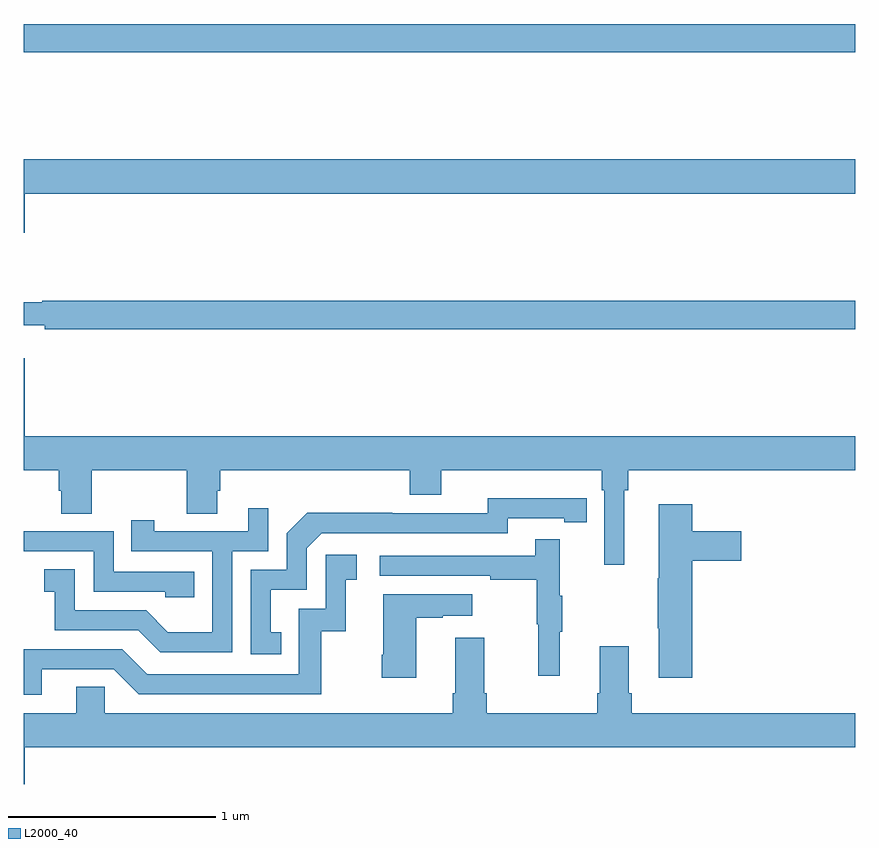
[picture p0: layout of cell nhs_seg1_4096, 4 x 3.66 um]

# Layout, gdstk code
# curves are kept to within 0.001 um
import gdstk
lib = gdstk.Library(unit=1e-6, precision=1e-09)
def R(c, l, rs):  # rectangles x0, y0, x1, y1
    for r in rs: c.add(gdstk.rectangle(r[:2], r[2:], *l))
def P(c, l, *ps):  # polygons
    for p in ps: c.add(gdstk.Polygon(p, *l))
L2000_40 = (2000, 40)

nhs_seg1_4096 = lib.new_cell('nhs_seg1_4096')
R(nhs_seg1_4096, L2000_40, [(333,577.72,337,577.856)])
P(nhs_seg1_4096, L2000_40, [(333.004,577.04),(337,577.04),(337,577.204),(333,577.204),(333,576.852),(333.004,576.852)],
  [(337,576.524),(333.088,576.524),(333.088,576.517),(333,576.517),(333,576.407),(333.1,576.407),(333.1,576.388),(337,576.388)],
  [(335.89,575.612),(335.909,575.612),(335.909,575.708),(337,575.708),(337,575.872),(333.004,575.872),(333.004,576.247),(333,576.247),(333,575.708),(333.167,575.708),(333.167,575.61),(333.179,575.61),(333.179,575.5),(333.327,575.5),(333.327,575.708),(333.784,575.708),(333.784,575.5),(333.931,575.5),(333.931,575.61),(333.944,575.61),(333.944,575.708),(334.856,575.708),(334.856,575.591),(335.008,575.591),(335.008,575.708),(335.78,575.708),(335.78,575.612),(335.793,575.612),(335.793,575.253),(335.89,575.253)],
  [(334.238,574.929),(334.189,574.929),(334.189,575.133),(334.362,575.133),(334.362,575.334),(334.434,575.406),(335.328,575.406),(335.328,575.478),(335.6,575.478),(335.6,575.458),(335.708,575.458),(335.708,575.574),(335.232,575.575),(335.232,575.502),(334.772,575.502),(334.772,575.504),(334.364,575.504),(334.266,575.406),(334.266,575.229),(334.092,575.229),(334.092,574.824),(334.238,574.824)],
  [(336.215,575.273),(336.451,575.273),(336.451,575.415),(336.215,575.415),(336.215,575.545),(336.056,575.545),(336.056,575.189),(336.049,575.189),(336.049,574.948),(336.056,574.948),(336.056,574.71),(336.215,574.71)],
  [(334.002,575.319),(334.176,575.319),(334.176,575.527),(334.079,575.527),(334.079,575.415),(333.628,575.415),(333.628,575.467),(333.517,575.467),(333.517,575.319),(333.906,575.319),(333.906,574.93),(333.692,574.93),(333.588,575.034),(333.246,575.034),(333.246,575.233),(333.099,575.233),(333.099,575.123),(333.148,575.123),(333.148,574.938),(333.551,574.938),(333.656,574.833),(334.002,574.833)],
  [(333.821,575.22),(333.432,575.22),(333.432,575.415),(333,575.415),(333,575.319),(333.336,575.319),(333.336,575.124),(333.681,575.124),(333.681,575.097),(333.821,575.097)],
  [(335.579,574.931),(335.59,574.931),(335.59,575.105),(335.579,575.105),(335.579,575.377),(335.461,575.377),(335.461,575.298),(334.713,575.298),(334.713,575.202),(335.245,575.202),(335.245,575.182),(335.469,575.182),(335.469,574.968),(335.476,574.968),(335.476,574.719),(335.579,574.719)],
  [(333.085,574.752),(333.432,574.752),(333.552,574.632),(334.432,574.632),(334.432,574.935),(334.55,574.935),(334.55,575.181),(334.603,575.181),(334.603,575.302),(334.452,575.302),(334.452,575.043),(334.323,575.043),(334.323,574.728),(333.594,574.728),(333.474,574.848),(333,574.848),(333,574.629),(333.085,574.629)],
  [(334.888,574.999),(335.015,574.999),(335.015,575.009),(335.158,575.009),(335.158,575.113),(334.73,575.113),(334.73,574.822),(334.723,574.822),(334.723,574.71),(334.888,574.71)],
  [(333,574.199),(333.004,574.199),(333.004,574.376),(337,574.376),(337,574.54),(335.924,574.54),(335.924,574.636),(335.911,574.636),(335.911,574.861),(335.771,574.861),(335.771,574.636),(335.759,574.636),(335.759,574.54),(335.228,574.54),(335.228,574.636),(335.215,574.636),(335.215,574.903),(335.075,574.903),(335.075,574.636),(335.063,574.636),(335.063,574.54),(333.39,574.54),(333.39,574.667),(333.251,574.667),(333.251,574.54),(333,574.54)])

lib.write_gds('nhs_seg1_4096.gds')
